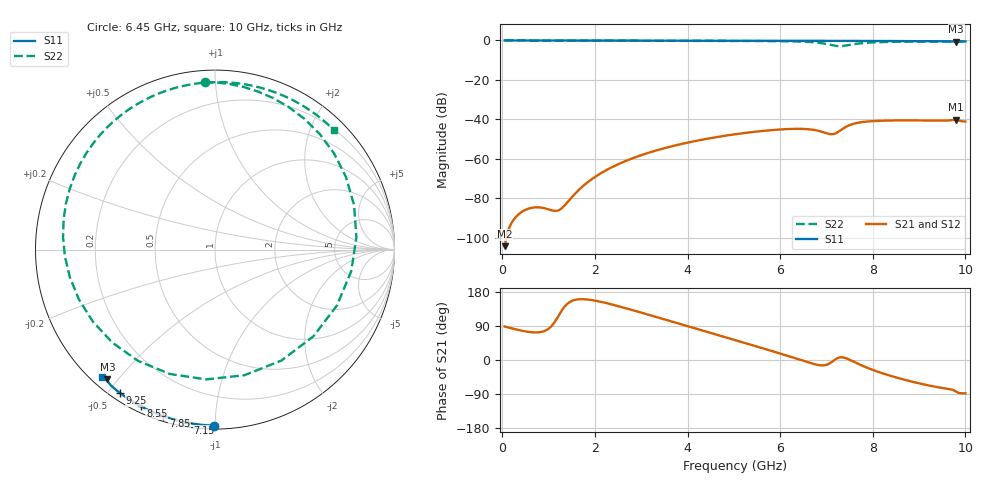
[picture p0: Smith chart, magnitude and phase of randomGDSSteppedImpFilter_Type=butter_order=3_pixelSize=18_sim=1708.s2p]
! freq	dB(S11)	phase(S11)	dB(S12)	phase(S12)
!  dB(S21)	phase(S21)	dB(S22)	phase(S22)
!S-par simulation data
#  GHz  S  DB  R 50
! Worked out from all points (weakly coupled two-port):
!   200 points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, 50 MHz to 10 GHz, reference 50 ohm
!   highest |S21| = -40.19 dB at 9.8 GHz (marker M1); lowest = -104.4 dB at 50 MHz (marker M2)
!   lowest |S11| = -0.6 dB at 9.8 GHz (marker M3), VSWR 31.02, Z = 1.97 - j23.4 ohm
!   |S11| at or under -10 dB: nowhere
!   |S22| runs from -2.9 to 0.0 dB; largest |S21 - S12| = 0
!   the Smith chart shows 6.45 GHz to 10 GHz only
!   S11 on the Smith chart (normalised r, x): 6.45 GHz: 0.02, -0.99; 7.15 GHz: 0.02, -0.86; 7.85 GHz: 0.02, -0.74; 8.55 GHz: 0.02, -0.63; 9.25 GHz: 0.03, -0.54; 10 GHz: 0.03, -0.45
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0.05  -0.00 -0.8  -104.39 88.4  -104.39 88.4  -0.00 -2.5
0.65  -0.01 -9.9  -84.87 73.1  -84.87 73.1  -0.04 -32.2
1.45  -0.03 -21.9  -80.91 152.4  -80.91 152.4  -0.08 -69.3
1.75  -0.03 -26.3  -73.75 160.4  -73.75 160.4  -0.10 -82.2
2.45  -0.05 -36.6  -63.38 143.8  -63.38 143.8  -0.12 -110.0
3.4  -0.07 -50.1  -55.31 110.9  -55.31 110.9  -0.15 -143.6
4.25  -0.09 -61.9  -50.65 80.4  -50.65 80.4  -0.19 -171.7
5.05  -0.11 -72.5  -47.53 51.8  -47.53 51.8  -0.24 161.2
5.85  -0.14 -82.8  -45.43 22.6  -45.43 22.6  -0.34 129.3
6.45  -0.17 -90.4  -44.86 -0.4  -44.86 -0.4  -0.58 93.5
6.7  -0.18 -93.4  -45.29 -9.7  -45.29 -9.7  -0.87 69.0
7  -0.20 -97.1  -47.09 -12.8  -47.09 -12.8  -1.79 17.7
7.15  -0.21 -98.9  -47.51 -2.0  -47.51 -2.0  -2.53 -24.7
7.3  -0.21 -100.7  -45.66 7.0  -45.66 7.0  -2.87 -76.7
7.4  -0.22 -101.9  -44.12 5.6  -44.12 5.6  -2.65 -110.0
7.6  -0.23 -104.3  -42.19 -5.1  -42.19 -5.1  -1.86 -159.9
7.85  -0.25 -107.3  -41.21 -19.0  -41.21 -19.0  -1.22 162.6
8.35  -0.29 -113.1  -40.63 -40.5  -40.63 -40.5  -0.75 121.3
8.55  -0.30 -115.4  -40.56 -47.6  -40.56 -47.6  -0.68 109.6
9.25  -0.37 -123.5  -40.64 -68.3  -40.64 -68.3  -0.57 76.0
9.8  -0.56 -129.7  -40.19 -83.4  -40.19 -83.4  -0.54 53.0
10  -0.47 -131.5  -41.15 -88.0  -41.15 -88.0  -0.54 45.0
